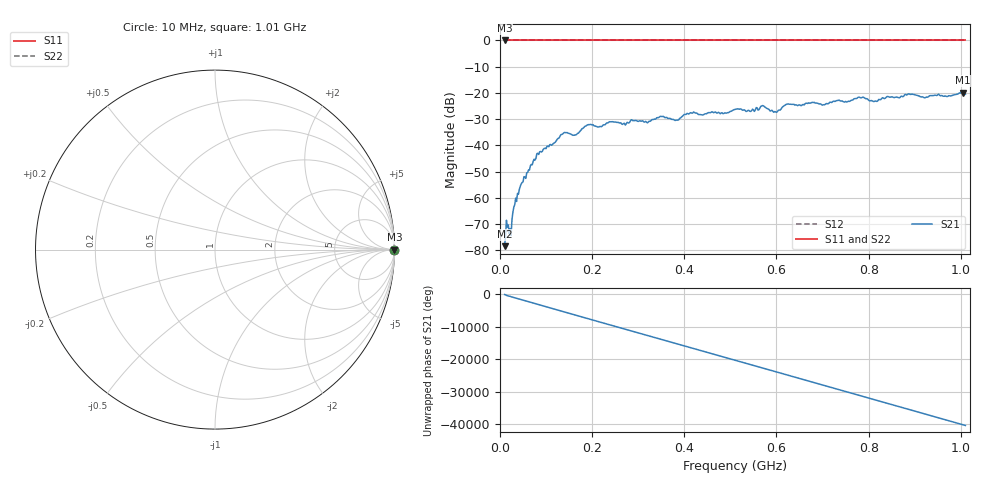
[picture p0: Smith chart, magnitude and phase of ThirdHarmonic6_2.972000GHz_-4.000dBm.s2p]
! 8/17/2025 8:24:58 AM
! C:\ANRITSUVNA\TEMP\TEMP.S2P
! CHANNEL.1
! TR.MEASUREMENT
! RAW.DATA
! RF.CORRECTION.OFF
! AVERAGING.OFF
! IF.BANDWIDTH: 5KHZ
! SWEEPTYPE:  FREQ.SWEEP(Linear)
! Reference Plane Port Info
! PORT:  PORT1  PORT2
! DISTANCE:  0  m  0  m
! TIME:  0  s  0  s
! PHASE.OFFSET:  0  deg.  0  deg.
! LOSS:  0  dB  0  dB
! REF.LOSS:  0  dB  0  dB
! REF.FREQ:  0  Hz  0  Hz
! Power Info
! POWER:  -20  dBm  -20  dBm
! EFF.POWER:  -20  dBm  -20  dBm
! SOURCE.ATTEN:  0  dB  0  dB
! TEST.ATTEN:  0  dB  0  dB
# GHZ S RI R 50.0
! FREQ.GHZ  S11RE  S11IM  S21RE  S21IM  S12RE  S12IM  S22RE  S22IM
!; PortSelection: Port_12
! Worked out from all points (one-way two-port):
!   501 points, 10 MHz to 1.01 GHz, reference 50 ohm
!   highest |S21| = -19.86 dB at 1.004 GHz (marker M1); lowest = -78.4 dB at 10 MHz (marker M2)
!   lowest |S11| = 0.0 dB at 10 MHz (marker M3)
!   |S11| at or under -10 dB: nowhere
!   |S22| runs from 0.0 to 0.0 dB; largest |S21 - S12| = 1.1
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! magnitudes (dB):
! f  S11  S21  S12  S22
! 10 MHz  0.0  -78.4  0.0  0.0
! 16 MHz  0.0  -71.2  0.0  0.0
! 24 MHz  0.0  -74.3  0.0  0.0
! 34 MHz  0.0  -60.1  0.0  0.0
! 48 MHz  0.0  -54.2  0.0  0.0
! 84 MHz  0.0  -43.5  0.0  0.0
! 136 MHz  0.0  -35.7  0.0  0.0
! 162 MHz  0.0  -36.1  0.0  0.0
! 178 MHz  0.0  -33.6  0.0  0.0
! 344 MHz  0.0  -29.4  0.0  0.0
! 384 MHz  0.0  -30.4  0.0  0.0
! 416 MHz  0.0  -27.7  0.0  0.0
! 510 MHz  0.0  -26.3  0.0  0.0
! 570 MHz  0.0  -24.8  0.0  0.0
! 598 MHz  0.0  -27.2  0.0  0.0
! 622 MHz  0.0  -24.3  0.0  0.0
! 678 MHz  0.0  -23.6  0.0  0.0
! 782 MHz  0.0  -21.8  0.0  0.0
! 814 MHz  0.0  -23.1  0.0  0.0
! 844 MHz  0.0  -21.5  0.0  0.0
! 1.004 GHz  0.0  -19.9  0.0  0.0
! 1.01 GHz  0.0  -20.5  0.0  0.0
